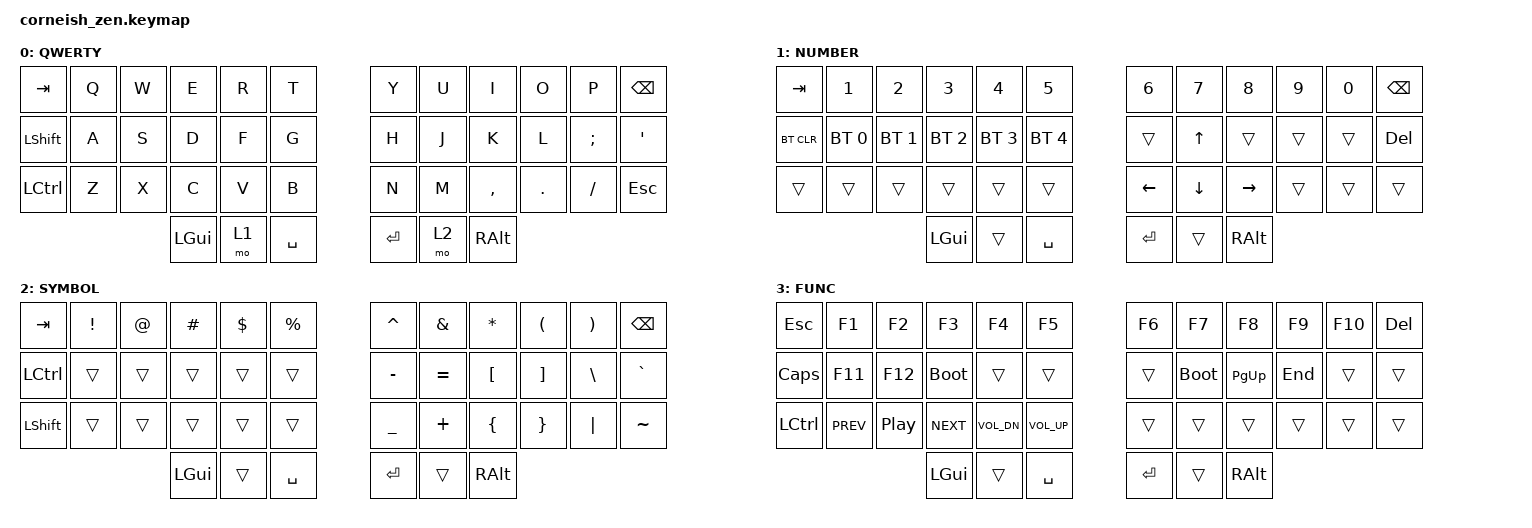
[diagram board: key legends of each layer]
/*
 * Copyright (c) 2021 Darryl deHaan
 * SPDX-License-Identifier: MIT
 */

#include <behaviors.dtsi>
#include <dt-bindings/zmk/bt.h>
#include <dt-bindings/zmk/keys.h>

/ {
    chosen {
        zmk,physical-layout = &foostan_corne_6col_layout;
    };

    keymap {
        compatible = "zmk,keymap";

        default_layer {
            display-name = "QWERTY";
            bindings = <
                &kp TAB   &kp Q &kp W &kp E &kp R &kp T    &kp Y &kp U  &kp I     &kp O   &kp P    &kp BSPC
                &kp LSHFT &kp A &kp S &kp D &kp F &kp G    &kp H &kp J  &kp K     &kp L   &kp SEMI &kp SQT
                &kp LCTRL &kp Z &kp X &kp C &kp V &kp B    &kp N &kp M  &kp COMMA &kp DOT &kp FSLH &kp ESC
                              &kp LGUI &mo 1 &kp SPACE       &kp RET &mo 2 &kp RALT
            >;
        };

        lower_layer {
            display-name = "NUMBER";
            bindings = <
                &kp TAB    &kp N1       &kp N2       &kp N3       &kp N4       &kp N5        &kp N6   &kp N7   &kp N8    &kp N9    &kp N0   &kp BSPC
                &bt BT_CLR &bt BT_SEL 0 &bt BT_SEL 1 &bt BT_SEL 2 &bt BT_SEL 3 &bt BT_SEL 4  &trans   &kp UP   &trans    &trans    &trans   &kp DEL
                &trans     &trans       &trans       &trans       &trans       &trans        &kp LEFT &kp DOWN &kp RIGHT &trans    &trans   &trans
                                 &kp LGUI     &trans       &kp SPACE      &kp RET  &trans   &kp RALT
            >;
        };

        raise_layer {
            display-name = "SYMBOL";
            bindings = <
                &kp TAB   &kp EXCL &kp AT   &kp HASH &kp DLLR &kp PRCNT   &kp CARET &kp AMPS &kp ASTRK &kp LPAR &kp RPAR &kp BSPC
                &kp LCTRL &trans   &trans   &trans   &trans   &trans      &kp MINUS &kp EQUAL &kp LBKT  &kp RBKT &kp BSLH &kp GRAVE
                &kp LSHFT &trans   &trans   &trans   &trans   &trans      &kp UNDER &kp PLUS  &kp LBRC  &kp RBRC &kp PIPE &kp TILDE
                              &kp LGUI &trans       &kp SPACE   &kp RET    &trans    &kp RALT
            >;
        };

        function_layer {
            display-name = "FUNC";
            bindings = <
                &kp ESC   &kp F1     &kp F2     &kp F3      &kp F4       &kp F5       &kp F6    &kp F7      &kp F8     &kp F9      &kp F10   &kp DEL
                &kp CAPS  &kp F11    &kp F12    &bootloader &trans       &trans       &trans    &bootloader &kp PG_UP  &kp END     &trans    &trans
                &kp LCTRL &kp C_PREV &kp C_PP   &kp C_NEXT  &kp C_VOL_DN &kp C_VOL_UP &trans    &trans      &trans     &trans      &trans    &trans
                                   &kp LGUI    &trans       &kp SPACE    &kp RET       &trans     &kp RALT
            >;
        };
    };
};
